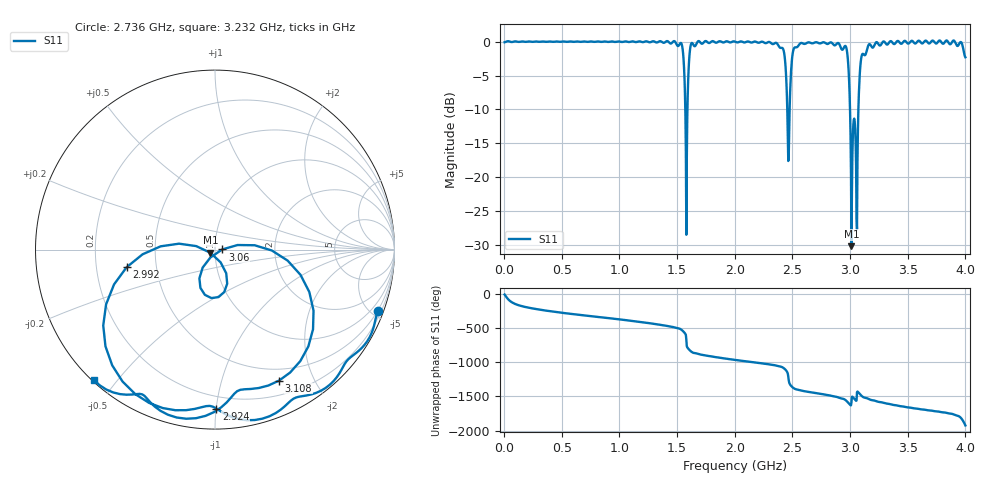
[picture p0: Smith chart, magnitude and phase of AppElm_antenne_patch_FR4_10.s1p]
! TOUCHSTONE file generated by CST MICROWAVE STUDIO
! Date and time: Tue Jun 14 13:48:58 2022
! Project name: AppElm_antenne_patch_FR4.cst
! Parameters = {L=45; W=58.5; e=0.035; h=1.6; lambda=0.190476; ls=120; w0=2.54; w1=0.847; ws=120; y0=18; y1=28.56}
! Header version: 2018
! Port assignment regex: !\s*Touchstone port\s*([0-9]+)\s*=\s*(CST MWS port|CST DS port)\s*([0-9]+|Zmin|Zmax)\s*\(\"(.*)\"\)(\s*mode\s*([0-9]+))?.*
! Touchstone port assignment:
! Touchstone port 1 = CST MWS port 1 ("")
# GHz S MA R 50
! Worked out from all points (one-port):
!   1000 points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, 4 MHz to 4 GHz, reference 50 ohm
!   lowest |S11| = -30.2 dB at 3.012 GHz (marker M1), VSWR 1.06, Z = 47.5 - j1.69 ohm
!   |S11| at or under -10 dB: 1.571 GHz to 1.59 GHz (18.61 MHz wide, 1.18 % of centre); 2.455 GHz to 2.476 GHz (20.5 MHz wide, 0.831 % of centre); 2.999 GHz to 3.072 GHz (72.55 MHz wide, 2.39 % of centre)
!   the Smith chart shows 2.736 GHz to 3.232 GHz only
!   S11 on the Smith chart (normalised r, x): 2.736 GHz: 0.46, -5.46; 2.924 GHz: 0.12, -1.00; 2.992 GHz: 0.33, -0.09; 3.06 GHz: 1.09, +0.00; 3.108 GHz: 0.36, -1.54; 3.232 GHz: 0.01, -0.44
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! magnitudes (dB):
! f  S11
! 4 MHz  -0.1
! 504 MHz  0.0
! 1.004 GHz  0.0
! 1.504 GHz  -0.6
! 1.544 GHz  -0.7
! 1.564 GHz  -5.4
! 1.58 GHz  -28.5
! 1.596 GHz  -5.6
! 1.612 GHz  -1.2
! 1.632 GHz  -0.2
! 2.004 GHz  0.0
! 2.408 GHz  -0.9
! 2.432 GHz  -2.1
! 2.464 GHz  -17.6
! 2.504 GHz  -1.6
! 2.736 GHz  -0.3
! 2.924 GHz  -1.0
! 2.972 GHz  -1.3
! 2.992 GHz  -6.0
! 3.004 GHz  -13.9
! 3.012 GHz  -30.2
! 3.06 GHz  -27.7
! 3.072 GHz  -10.0
! 3.088 GHz  -3.8
! 3.108 GHz  -1.8
! 3.232 GHz  -0.1
! 3.504 GHz  -0.3
! 4 GHz  -2.3
